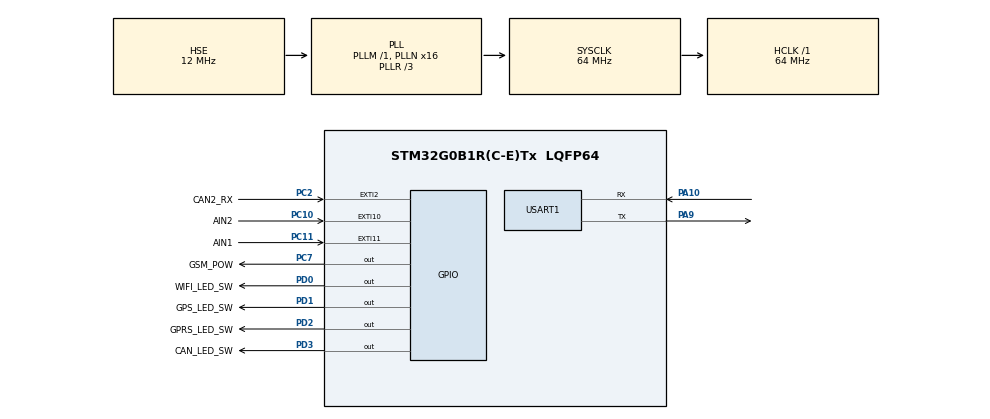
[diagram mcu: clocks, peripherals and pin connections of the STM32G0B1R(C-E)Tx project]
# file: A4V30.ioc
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IWDG.Prescaler=IWDG_PRESCALER_64
IWDG.Reload=4095
IWDG.Window=4095
Mcu.Family=STM32G0
Mcu.Name=STM32G0B1R(C-E)Tx
Mcu.Package=LQFP64
NVIC.EXTI2_3_IRQn=true\:0\:0\:true\:false\:true\:true\:true
NVIC.EXTI4_15_IRQn=true\:0\:0\:true\:false\:true\:true\:true
NVIC.USART1_IRQn=true\:1\:0\:true\:false\:true\:true\:true
PA10.Mode=Asynchronous
PA10.Signal=USART1_RX
PA9.Mode=Asynchronous
PA9.Signal=USART1_TX
PC10.GPIO_Label=AIN2
PC10.GPIO_ModeDefaultEXTI=GPIO_MODE_IT_FALLING
PC10.GPIO_PuPd=GPIO_PULLUP
PC10.Signal=GPXTI10
PC11.GPIO_Label=AIN1
PC11.GPIO_ModeDefaultEXTI=GPIO_MODE_IT_FALLING
PC11.Signal=GPXTI11
PC2.GPIO_Label=CAN2_RX
PC2.GPIO_ModeDefaultEXTI=GPIO_MODE_IT_FALLING
PC2.GPIO_PuPd=GPIO_PULLUP
PC2.Signal=GPXTI2
PC7.GPIO_Label=GSM_POW
PC7.GPIO_ModeDefaultOutputPP=GPIO_MODE_OUTPUT_PP
PC7.GPIO_PuPd=GPIO_NOPULL
PC7.GPIO_Speed=GPIO_SPEED_FREQ_LOW
PC7.PinState=GPIO_PIN_SET
PC7.Signal=GPIO_Output
PD0.GPIO_Label=WIFI_LED_SW
PD0.GPIO_PuPd=GPIO_NOPULL
PD0.PinState=GPIO_PIN_RESET
PD0.Signal=GPIO_Output
PD1.GPIO_Label=GPS_LED_SW
PD1.Signal=GPIO_Output
PD2.GPIO_Label=GPRS_LED_SW
PD2.Signal=GPIO_Output
PD3.GPIO_Label=CAN_LED_SW
PD3.Signal=GPIO_Output
PF0-OSC_IN\ (PF0).Mode=HSE-External-Oscillator
PF0-OSC_IN\ (PF0).Signal=RCC_OSC_IN
PF1-OSC_OUT\ (PF1).Mode=HSE-External-Oscillator
PF1-OSC_OUT\ (PF1).Signal=RCC_OSC_OUT
ProjectManager.HeapSize=0x200
ProjectManager.StackSize=0x400
ProjectManager.TargetToolchain=MDK-ARM V5
RCC.ADCFreq_Value=64000000
RCC.AHBFreq_Value=64000000
RCC.CortexFreq_Value=64000000
RCC.EXTERNAL_CLOCK_VALUE=48000
RCC.HCLKFreq_Value=64000000
RCC.HSE_VALUE=12000000
RCC.HSI48_VALUE=48000000
RCC.HSI_VALUE=16000000
RCC.LSE_VALUE=32768
RCC.PLLN=16
RCC.PLLQ=RCC_PLLQ_DIV6
RCC.PLLR=RCC_PLLR_DIV3
RCC.PLLSourceVirtual=RCC_PLLSOURCE_HSE
RCC.SYSCLKFreq_VALUE=64000000
RCC.SYSCLKSource=RCC_SYSCLKSOURCE_PLLCLK
RCC.USBFreq_Value=48000000
RCC.VCOOutputFreq_Value=192000000
USART1.VirtualMode-Asynchronous=VM_ASYNC
VP_IWDG_VS_IWDG.Mode=IWDG_Activate
VP_SYS_VS_DBSignals.Mode=DisableDeadBatterySignals
board=custom

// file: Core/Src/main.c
/* USER CODE BEGIN Header */
/**

******************************************************************************
  * @file           : main.c
  * @brief          : Main program body

******************************************************************************
  * @attention
  *
  * <h2><center>&copy; Copyright (c) 2022 STMicroelectronics.
  * All rights reserved.</center></h2>
  *
  * This software component is licensed by ST under BSD 3-Clause license,
  * the "License"; You may not use this file except in compliance with the
  * License. You may obtain a copy of the License at:
  *                        opensource.org/licenses/BSD-3-Clause
  *

******************************************************************************
  */
/* USER CODE END Header */
#include "main.h"
#include "iwdg.h"
#include "usart.h"
#include "gpio.h"

/* USER CODE BEGIN Includes */
#include "PowerManagement.h"
#include "debug.h"
/* USER CODE END Includes */

void SystemClock_Config(void);

int main(void)
{
  /* USER CODE BEGIN 1 */
    uint32_t nCount = 0;
  /* USER CODE END 1 */

  /* MCU Configuration--------------------------------------------------------*/

  /* Reset of all peripherals, Initializes the Flash interface and the Systick. */
  HAL_Init();

  /* Configure the system clock */
  SystemClock_Config();

  /* Initialize all configured peripherals */
  MX_GPIO_Init();
  MX_USART1_UART_Init();
  MX_IWDG_Init();
  /* USER CODE BEGIN 2 */
    __HAL_IWDG_START(&hiwdg);
	HAL_UART_Receive_IT(&huart1, &dbg_rxdata, 1);

    HAL_GPIO_WritePin(GSM_POW_GPIO_Port,  GSM_POW_Pin, GPIO_PIN_SET);

  /* USER CODE END 2 */

  /* Infinite loop */
    while (1)
    {

    /* USER CODE BEGIN 3 */
        nCount++;
        if(nCount != 0 && nCount % 10 == 0)
        {
            HAL_IWDG_Refresh(&hiwdg);
            p_info("DEBUG_1HZ_TRACE:%d\r\n", HAL_GetTick());
            if(nCount != 0 && nCount % 20 == 0)
            {
                HAL_GPIO_TogglePin(GPIOD, GPS_LED_SW_Pin | GPRS_LED_SW_Pin | CAN_LED_SW_Pin);
                nCount = 0;
            }
        }
        HAL_Delay(100);
    }
  /* USER CODE END 3 */
}

void SystemClock_Config(void)
{
  RCC_OscInitTypeDef RCC_OscInitStruct = {0};
  RCC_ClkInitTypeDef RCC_ClkInitStruct = {0};
  RCC_PeriphCLKInitTypeDef PeriphClkInit = {0};

  /** Configure the main internal regulator output voltage
  */
  HAL_PWREx_ControlVoltageScaling(PWR_REGULATOR_VOLTAGE_SCALE1);
  /** Initializes the RCC Oscillators according to the specified parameters
  * in the RCC_OscInitTypeDef structure.
  */
  RCC_OscInitStruct.OscillatorType = RCC_OSCILLATORTYPE_LSI|RCC_OSCILLATORTYPE_HSE;
  RCC_OscInitStruct.HSEState = RCC_HSE_ON;
  RCC_OscInitStruct.LSIState = RCC_LSI_ON;
  RCC_OscInitStruct.PLL.PLLState = RCC_PLL_ON;
  RCC_OscInitStruct.PLL.PLLSource = RCC_PLLSOURCE_HSE;
  RCC_OscInitStruct.PLL.PLLM = RCC_PLLM_DIV1;
  RCC_OscInitStruct.PLL.PLLN = 16;
  RCC_OscInitStruct.PLL.PLLP = RCC_PLLP_DIV2;
  RCC_OscInitStruct.PLL.PLLQ = RCC_PLLQ_DIV6;
  RCC_OscInitStruct.PLL.PLLR = RCC_PLLR_DIV3;
  if (HAL_RCC_OscConfig(&RCC_OscInitStruct) != HAL_OK)
  {
    Error_Handler();
  }
  /** Initializes the CPU, AHB and APB buses clocks
  */
  RCC_ClkInitStruct.ClockType = RCC_CLOCKTYPE_HCLK|RCC_CLOCKTYPE_SYSCLK
                              |RCC_CLOCKTYPE_PCLK1;
  RCC_ClkInitStruct.SYSCLKSource = RCC_SYSCLKSOURCE_PLLCLK;
  RCC_ClkInitStruct.AHBCLKDivider = RCC_SYSCLK_DIV1;
  RCC_ClkInitStruct.APB1CLKDivider = RCC_HCLK_DIV1;

  if (HAL_RCC_ClockConfig(&RCC_ClkInitStruct, FLASH_LATENCY_2) != HAL_OK)
  {
    Error_Handler();
  }
  /** Initializes the peripherals clocks
  */
  PeriphClkInit.PeriphClockSelection = RCC_PERIPHCLK_USART1;
  PeriphClkInit.Usart1ClockSelection = RCC_USART1CLKSOURCE_PCLK1;
  if (HAL_RCCEx_PeriphCLKConfig(&PeriphClkInit) != HAL_OK)
  {
    Error_Handler();
  }
}

/* USER CODE BEGIN 4 */

/**
 * @brief      下降沿中断回调函数
 *
 * @param[in]  GPIO_Pin		gpio引脚序号
 *
 * @return     空
 */
void HAL_GPIO_EXTI_Falling_Callback(uint16_t GPIO_Pin)
{
    switch(GPIO_Pin)
    {
    case CAN2_RX_Pin:
		p_info("CAN2_RX_Pin=1");
        wakeFlag.flag = (uint32_t)(wakeFlag.mask & CAN2_WAKE);
		wakeFlag.isProcessed = no_Processed;
        break;
	case AIN1_Pin:
		p_info("AIN1=1");
        wakeFlag.flag = (uint32_t)(wakeFlag.mask & AIN1_WAKE);
		wakeFlag.isProcessed = no_Processed;
		break;
	case AIN2_Pin:
		p_info("AIN2=1");
        wakeFlag.flag = (uint32_t)(wakeFlag.mask & AIN2_WAKE);
		wakeFlag.isProcessed = no_Processed;
		break;
    }
}

/* USER CODE END 4 */

void Error_Handler(void)
{
  /* USER CODE BEGIN Error_Handler_Debug */
    /* User can add his own implementation to report the HAL error return
    state */
    __disable_irq();
    while (1)
    {
    }
  /* USER CODE END Error_Handler_Debug */
}

#ifdef  USE_FULL_ASSERT
/**
  * @brief  Reports the name of the source file and the source line number
  *         where the assert_param error has occurred.
  * @param  file: pointer to the source file name
  * @param  line: assert_param error line source number
  * @retval None
  */
void assert_failed(uint8_t *file, uint32_t line)
{
  /* USER CODE BEGIN 6 */
    /* User can add his own implementation to report the file name and line
    number,
       ex: printf("Wrong parameters value: file %s on line %d\r\n", file, line
    ) */
  /* USER CODE END 6 */
}
#endif /* USE_FULL_ASSERT */

/************************ (C) COPYRIGHT STMicroelectronics *****END OF FILE****/
